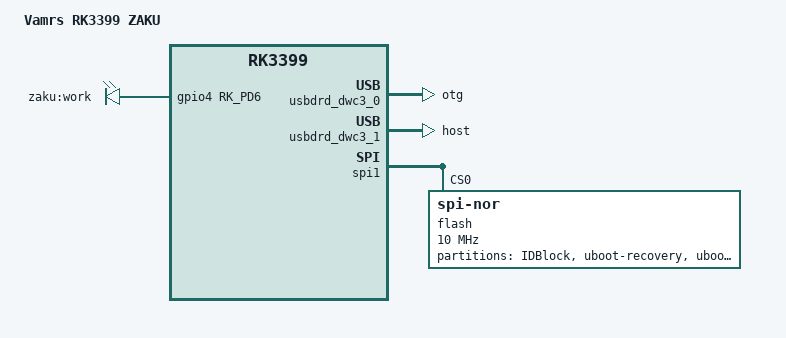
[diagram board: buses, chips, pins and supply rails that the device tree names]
// SPDX-License-Identifier: (GPL-2.0+ OR MIT)
/*
 * Copyright (c) 2018 Linaro Ltd.
 */

/dts-v1/;
#include "rk3399-zaku.dtsi"

/ {
	model = "Vamrs RK3399 ZAKU";
	compatible = "vamrs,rock960", "rockchip,rk3399";

	chosen {
		stdout-path = "serial2:1500000n8";
	};
	
	leds {
		compatible = "gpio-leds";
		status = "okay";

		work-led {
			label = "zaku:work";
			gpios = <&gpio4 RK_PD6 GPIO_ACTIVE_HIGH>;
			linux,default-trigger = "heartbeat";
			default-state = "on";
		};
	};


};

&cpu_alert0 {
	temperature = <65000>;
};

&cpu_thermal {
	sustainable-power = <1550>;

	cooling-maps {
		map0 {
			trip = <&cpu_alert1>;
		};
	};
};

&pcie0 {
	ep-gpios = <&gpio2 RK_PD4 GPIO_ACTIVE_HIGH>;
};

&pinctrl {

	gmac {
		rgmii_sleep_pins: rgmii-sleep-pins {
			rockchip,pins =
				<3 RK_PB7 RK_FUNC_GPIO &pcfg_output_low>;
		};
	};

	leds {
		user_led1_pin: user-led1-pin {
			rockchip,pins =
				<4 RK_PC2 RK_FUNC_GPIO &pcfg_pull_none>;
		};

		user_led2_pin: user-led2-pin {
			rockchip,pins =
				<4 RK_PC6 RK_FUNC_GPIO &pcfg_pull_none>;
		};

		user_led3_pin: user-led3-pin {
			rockchip,pins =
				<4 RK_PD0 RK_FUNC_GPIO &pcfg_pull_none>;
		};

		user_led4_pin: user-led4-pin {
			rockchip,pins =
				<4 RK_PD4 RK_FUNC_GPIO &pcfg_pull_none>;
		};

		wlan_led_pin: wlan-led-pin {
			rockchip,pins =
				<4 RK_PD5 RK_FUNC_GPIO &pcfg_pull_none>;
		};

		bt_led_pin: bt-led-pin {
			rockchip,pins =
				<4 RK_PD6 RK_FUNC_GPIO &pcfg_pull_none>;
		};
	};

	pcie {
		pcie_drv: pcie-drv {
			rockchip,pins =
				<4 RK_PC2 RK_FUNC_GPIO &pcfg_pull_up_20ma>;
			};
	};

	usb2 {
		sata_pwr_on: sata_pwr_on {
			rockchip,pins =
				<4 RK_PD3 RK_FUNC_GPIO &pcfg_pull_none>;
		};
	};
};

&usbdrd_dwc3_0 {
	dr_mode = "otg";
};

&usbdrd_dwc3_1 {
	dr_mode = "host";
};

&vcc3v3_pcie {
	gpio = <&gpio4 18 GPIO_ACTIVE_HIGH>;
};

&vcc5v0_usb {
	gpio = <&gpio4 27 GPIO_ACTIVE_HIGH>;
};

&spi1 {
	status = "okay";
	flash@0 {
		status = "okay";
		compatible = "jedec,spi-nor";
		reg = <0>;
		spi-max-frequency = <10000000>;

		#address-cells = <1>;
		#size-cells = <1>;
		partition@0 {
			label = "IDBlock";
			reg = <0x0 0x200000>;
		};

		partition@1 {
			label = "uboot-recovery";
			reg = <0x200000 0x200000>;      
		};

		partition@2 {
			label = "uboot";
			reg = <0x400000 0x200000>;
		};
		partition@3 {
			label = "trust";
			reg = <0x600000 0x100000>;
		};
		partition@4 {
			label = "uboot-env";
			reg = <0x700000 0x100000>;
		};


	};

};
